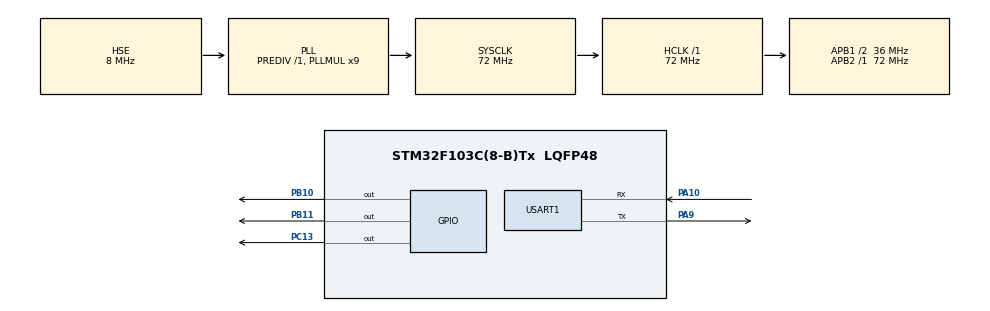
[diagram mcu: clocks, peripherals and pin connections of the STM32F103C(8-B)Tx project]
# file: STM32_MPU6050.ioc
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Mcu.Family=STM32F1
Mcu.Name=STM32F103C(8-B)Tx
Mcu.Package=LQFP48
NVIC.PriorityGroup=NVIC_PRIORITYGROUP_4
NVIC.TIM2_IRQn=true\:0\:0\:false\:false\:true\:true\:true\:true
PA10.Mode=Asynchronous
PA10.Signal=USART1_RX
PA13.Mode=Serial_Wire
PA13.Signal=SYS_JTMS-SWDIO
PA14.Mode=Serial_Wire
PA14.Signal=SYS_JTCK-SWCLK
PA9.Mode=Asynchronous
PA9.Signal=USART1_TX
PB10.GPIO_ModeDefaultOutputPP=GPIO_MODE_OUTPUT_OD
PB10.GPIO_PuPd=GPIO_NOPULL
PB10.GPIO_Speed=GPIO_SPEED_FREQ_HIGH
PB10.PinState=GPIO_PIN_SET
PB10.Signal=GPIO_Output
PB11.GPIO_ModeDefaultOutputPP=GPIO_MODE_OUTPUT_OD
PB11.GPIO_PuPd=GPIO_NOPULL
PB11.GPIO_Speed=GPIO_SPEED_FREQ_HIGH
PB11.PinState=GPIO_PIN_SET
PB11.Signal=GPIO_Output
PC13-TAMPER-RTC.GPIO_PuPd=GPIO_PULLUP
PC13-TAMPER-RTC.GPIO_Speed=GPIO_SPEED_FREQ_HIGH
PC13-TAMPER-RTC.PinState=GPIO_PIN_SET
PC13-TAMPER-RTC.Signal=GPIO_Output
PD0-OSC_IN.Mode=HSE-External-Oscillator
PD0-OSC_IN.Signal=RCC_OSC_IN
PD1-OSC_OUT.Mode=HSE-External-Oscillator
PD1-OSC_OUT.Signal=RCC_OSC_OUT
ProjectManager.HeapSize=0x200
ProjectManager.StackSize=0x400
ProjectManager.TargetToolchain=STM32CubeIDE
RCC.AHBFreq_Value=72000000
RCC.APB1CLKDivider=RCC_HCLK_DIV2
RCC.APB1Freq_Value=36000000
RCC.APB1TimFreq_Value=72000000
RCC.APB2Freq_Value=72000000
RCC.APB2TimFreq_Value=72000000
RCC.HCLKFreq_Value=72000000
RCC.PLLMUL=RCC_PLL_MUL9
RCC.PLLSourceVirtual=RCC_PLLSOURCE_HSE
RCC.SYSCLKFreq_VALUE=72000000
RCC.SYSCLKSource=RCC_SYSCLKSOURCE_PLLCLK
RCC.USBFreq_Value=72000000
TIM1.Period=0
TIM1.Prescaler=71
TIM2.AutoReloadPreload=TIM_AUTORELOAD_PRELOAD_ENABLE
TIM2.Period=4999
TIM2.Prescaler=71
USART1.VirtualMode=VM_ASYNC
VP_TIM1_VS_ClockSourceINT.Mode=Internal
VP_TIM2_VS_ClockSourceINT.Mode=Internal
board=custom

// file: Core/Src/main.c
/* USER CODE BEGIN Header */
/**
  ******************************************************************************
  * @file           : main.c
  * @brief          : Main program body
  ******************************************************************************
  * @attention
  *
  * Copyright (c) 2024 STMicroelectronics.
  * All rights reserved.
  *
  * This software is licensed under terms that can be found in the LICENSE file
  * in the root directory of this software component.
  * If no LICENSE file comes with this software, it is provided AS-IS.
  *
  ******************************************************************************
  */
/* USER CODE END Header */
#include "main.h"
#include "tim.h"
#include "usart.h"
#include "gpio.h"

/* USER CODE BEGIN Includes */
#include "stdio.h"
#include "retarget.h"
#include "iic.h"
#include "mpu6050.h"
#include "imu.h"
/* USER CODE END Includes */

void SystemClock_Config(void);

/* USER CODE BEGIN 0 */
#ifdef __GNUC__
#define PUTCHAR_PROTOTYPE int __io_putchar(int ch)
#else
#define PUTCHAR_PROTOTYPE int fputc(int ch, FILE *f)
#endif

PUTCHAR_PROTOTYPE
{
    HAL_UART_Transmit(&huart1,(uint8_t *)&ch,1,0xFFFF);//阻塞方式打印,串口1
    return ch;
}
/*********************************************************************************************************/

uint8_t ID;
int16_t AX, AY, AZ, GX, GY, GZ;
/* USER CODE END 0 */

int main(void)
{
  /* USER CODE BEGIN 1 */
    RetargetInit(&huart1);
  /* USER CODE END 1 */

  /* MCU Configuration--------------------------------------------------------*/

  /* Reset of all peripherals, Initializes the Flash interface and the Systick. */
  HAL_Init();

  /* Configure the system clock */
  SystemClock_Config();

  /* Initialize all configured peripherals */
  MX_GPIO_Init();
  MX_TIM1_Init();
  MX_USART1_UART_Init();
  MX_TIM2_Init();
  /* USER CODE BEGIN 2 */
    HAL_Delay(1000);
    MPU6050_Init();
    ID = MPU6050_GetID();
    HAL_TIM_Base_Start_IT(&htim2);
  /* USER CODE END 2 */

  /* Infinite loop */
  /* USER CODE BEGIN WHILE */
  while (1)
  {
//      printf("ID:%x\r\n",MPU6050_GetID());
//      MPU6050_GetData(&AX, &AY, &AZ, &GX, &GY, &GZ);
//      printf("AX:%d  ,AY:%d   ,AZ:%d   ,GX:%d   ,GY:%d   ,GZ:%d   \r\n",AX,AY,AZ,GX,GY,GZ);
//      printf("pitch:%f\r\n",imu_Angle.Pitch);
//      printf("roll:%f\r\n",imu_Angle.Roll);
//      printf("yaw:%f\r\n",imu_Angle.Yaw);
 //     HAL_GPIO_WritePin(GPIOC,GPIO_PIN_13,GPIO_PIN_RESET);
    /* USER CODE END WHILE */

  }
}

void SystemClock_Config(void)
{
  RCC_OscInitTypeDef RCC_OscInitStruct = {0};
  RCC_ClkInitTypeDef RCC_ClkInitStruct = {0};

  /** Initializes the RCC Oscillators according to the specified parameters
  * in the RCC_OscInitTypeDef structure.
  */
  RCC_OscInitStruct.OscillatorType = RCC_OSCILLATORTYPE_HSE;
  RCC_OscInitStruct.HSEState = RCC_HSE_ON;
  RCC_OscInitStruct.HSEPredivValue = RCC_HSE_PREDIV_DIV1;
  RCC_OscInitStruct.HSIState = RCC_HSI_ON;
  RCC_OscInitStruct.PLL.PLLState = RCC_PLL_ON;
  RCC_OscInitStruct.PLL.PLLSource = RCC_PLLSOURCE_HSE;
  RCC_OscInitStruct.PLL.PLLMUL = RCC_PLL_MUL9;
  if (HAL_RCC_OscConfig(&RCC_OscInitStruct) != HAL_OK)
  {
    Error_Handler();
  }

  /** Initializes the CPU, AHB and APB buses clocks
  */
  RCC_ClkInitStruct.ClockType = RCC_CLOCKTYPE_HCLK|RCC_CLOCKTYPE_SYSCLK
                              |RCC_CLOCKTYPE_PCLK1|RCC_CLOCKTYPE_PCLK2;
  RCC_ClkInitStruct.SYSCLKSource = RCC_SYSCLKSOURCE_PLLCLK;
  RCC_ClkInitStruct.AHBCLKDivider = RCC_SYSCLK_DIV1;
  RCC_ClkInitStruct.APB1CLKDivider = RCC_HCLK_DIV2;
  RCC_ClkInitStruct.APB2CLKDivider = RCC_HCLK_DIV1;

  if (HAL_RCC_ClockConfig(&RCC_ClkInitStruct, FLASH_LATENCY_2) != HAL_OK)
  {
    Error_Handler();
  }
}

/* USER CODE BEGIN 4 */

void HAL_TIM_PeriodElapsedCallback(TIM_HandleTypeDef *htim)
{
    int16_t counter = 0;
    counter = __HAL_TIM_GET_COUNTER(&htim2);
    if (htim==(&htim2))
    {
        IMU_getEuleranAngles();
    }
    counter=__HAL_TIM_GET_COUNTER(&htim2)-counter;
    printf("%d\r\n",counter);
}

/* USER CODE END 4 */

void Error_Handler(void)
{
  __disable_irq();
  while (1)
  {
  }
}
